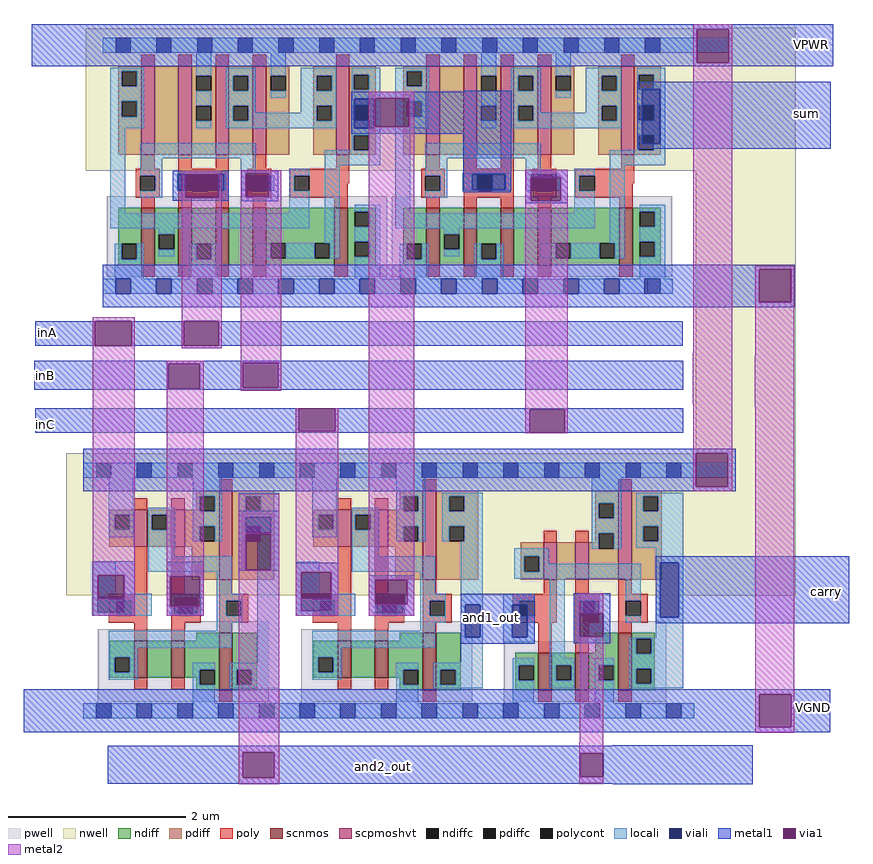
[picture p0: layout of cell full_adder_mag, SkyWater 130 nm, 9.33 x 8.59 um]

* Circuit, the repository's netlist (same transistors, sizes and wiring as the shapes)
* NGSPICE file created from full_adder_mag.ext - technology: sky130A

.subckt sky130_fd_sc_hd__and2_1 A B VGND VNB VPB VPWR X
X0 VPWR B a_59_75# VPB sky130_fd_pr__pfet_01v8_hvt ad=0.16655 pd=1.39 as=0.0567 ps=0.69 w=0.42 l=0.15
X1 X a_59_75# VPWR VPB sky130_fd_pr__pfet_01v8_hvt ad=0.475 pd=2.95 as=0.16655 ps=1.39 w=1 l=0.15
X2 VGND B a_145_75# VNB sky130_fd_pr__nfet_01v8 ad=0.1118 pd=1.04 as=0.0567 ps=0.69 w=0.42 l=0.15
X3 a_59_75# A VPWR VPB sky130_fd_pr__pfet_01v8_hvt ad=0.0567 pd=0.69 as=0.1176 ps=1.4 w=0.42 l=0.15
X4 X a_59_75# VGND VNB sky130_fd_pr__nfet_01v8 ad=0.182 pd=1.86 as=0.1118 ps=1.04 w=0.65 l=0.15
X5 a_145_75# A a_59_75# VNB sky130_fd_pr__nfet_01v8 ad=0.0567 pd=0.69 as=0.1176 ps=1.4 w=0.42 l=0.15
.ends

.subckt sky130_fd_sc_hd__or2_1 A B VGND VNB VPB VPWR X
X0 VGND A a_68_297# VNB sky130_fd_pr__nfet_01v8 ad=0.10025 pd=0.985 as=0.0567 ps=0.69 w=0.42 l=0.15
X1 a_68_297# B VGND VNB sky130_fd_pr__nfet_01v8 ad=0.0567 pd=0.69 as=0.1092 ps=1.36 w=0.42 l=0.15
X2 X a_68_297# VGND VNB sky130_fd_pr__nfet_01v8 ad=0.169 pd=1.82 as=0.10025 ps=0.985 w=0.65 l=0.15
X3 VPWR A a_150_297# VPB sky130_fd_pr__pfet_01v8_hvt ad=0.14575 pd=1.335 as=0.0441 ps=0.63 w=0.42 l=0.15
X4 X a_68_297# VPWR VPB sky130_fd_pr__pfet_01v8_hvt ad=0.34 pd=2.68 as=0.14575 ps=1.335 w=1 l=0.15
X5 a_150_297# B a_68_297# VPB sky130_fd_pr__pfet_01v8_hvt ad=0.0441 pd=0.63 as=0.1092 ps=1.36 w=0.42 l=0.15
.ends

.subckt sky130_fd_sc_hd__xor2_1 A B VGND VNB VPB VPWR X
X0 X a_35_297# a_285_297# VPB sky130_fd_pr__pfet_01v8_hvt ad=0.3 pd=2.6 as=0.26 ps=2.52 w=1 l=0.15
X1 X B a_285_47# VNB sky130_fd_pr__nfet_01v8 ad=0.25025 pd=1.42 as=0.08775 ps=0.92 w=0.65 l=0.15
X2 a_35_297# B VGND VNB sky130_fd_pr__nfet_01v8 ad=0.08775 pd=0.92 as=0.169 ps=1.82 w=0.65 l=0.15
X3 a_117_297# B a_35_297# VPB sky130_fd_pr__pfet_01v8_hvt ad=0.135 pd=1.27 as=0.26 ps=2.52 w=1 l=0.15
X4 VPWR B a_285_297# VPB sky130_fd_pr__pfet_01v8_hvt ad=0.26 pd=2.52 as=0.135 ps=1.27 w=1 l=0.15
X5 VGND A a_35_297# VNB sky130_fd_pr__nfet_01v8 ad=0.08775 pd=0.92 as=0.08775 ps=0.92 w=0.65 l=0.15
X6 VGND a_35_297# X VNB sky130_fd_pr__nfet_01v8 ad=0.208 pd=1.94 as=0.25025 ps=1.42 w=0.65 l=0.15
X7 a_285_297# A VPWR VPB sky130_fd_pr__pfet_01v8_hvt ad=0.135 pd=1.27 as=0.135 ps=1.27 w=1 l=0.15
X8 VPWR A a_117_297# VPB sky130_fd_pr__pfet_01v8_hvt ad=0.135 pd=1.27 as=0.135 ps=1.27 w=1 l=0.15
X9 a_285_47# A VGND VNB sky130_fd_pr__nfet_01v8 ad=0.08775 pd=0.92 as=0.08775 ps=0.92 w=0.65 l=0.15
.ends

.subckt full_adder_mag inA inB inC sum carry VPWR VGND
Xsky130_fd_sc_hd__and2_1_0 inA inB VGND SUB sky130_fd_sc_hd__or2_1_0/VPB VPWR and2_out
+ sky130_fd_sc_hd__and2_1
Xsky130_fd_sc_hd__and2_1_1 inC sky130_fd_sc_hd__xor2_1_1/A VGND SUB sky130_fd_sc_hd__or2_1_0/VPB
+ VPWR and1_out sky130_fd_sc_hd__and2_1
Xsky130_fd_sc_hd__or2_1_0 and2_out and1_out VGND SUB sky130_fd_sc_hd__or2_1_0/VPB
+ VPWR carry sky130_fd_sc_hd__or2_1
Xsky130_fd_sc_hd__xor2_1_0 inA inB VGND SUB sky130_fd_sc_hd__or2_1_0/VPB VPWR sky130_fd_sc_hd__xor2_1_1/A
+ sky130_fd_sc_hd__xor2_1
Xsky130_fd_sc_hd__xor2_1_1 sky130_fd_sc_hd__xor2_1_1/A inC VGND SUB sky130_fd_sc_hd__or2_1_0/VPB
+ VPWR sum sky130_fd_sc_hd__xor2_1
.ends

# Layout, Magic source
magic
tech sky130A
magscale 1 2
<< nwell >>
rect 2338 582 2564 584
rect 2278 260 2564 582
rect 2338 -378 2564 260
rect 2322 -700 2564 -378
<< locali >>
rect 998 527 2420 561
rect 954 -433 2420 -399
<< viali >>
rect 1566 356 1610 423
rect 2217 322 2258 445
rect 1168 216 1271 253
rect 1323 215 1377 249
rect 1833 218 1907 253
rect 1966 218 2024 252
rect 1321 -557 1378 -522
rect 987 -737 1046 -702
rect 1159 -739 1212 -703
rect 1447 -734 1514 -695
rect 1617 -738 1676 -701
rect 1817 -794 1851 -720
rect 1923 -794 1957 -720
rect 2084 -757 2118 -712
rect 2258 -748 2299 -625
<< metal1 >>
rect 838 580 2648 592
rect 838 505 2340 580
rect 2412 505 2648 580
rect 838 496 2648 505
rect 2205 445 2643 461
rect 1812 439 1921 441
rect 1559 424 1921 439
rect 1559 423 1612 424
rect 1559 356 1566 423
rect 1610 360 1612 423
rect 1690 360 1921 424
rect 1610 356 1921 360
rect 1559 344 1921 356
rect 1156 253 1283 261
rect 1156 216 1168 253
rect 1271 216 1283 253
rect 1156 199 1184 216
rect 1260 199 1283 216
rect 1156 193 1283 199
rect 1311 255 1394 261
rect 1311 202 1321 255
rect 1373 249 1394 255
rect 1377 215 1394 249
rect 1373 202 1394 215
rect 1812 253 1921 344
rect 2205 322 2217 445
rect 2258 322 2643 445
rect 2205 310 2643 322
rect 1812 218 1833 253
rect 1907 218 1921 253
rect 1812 215 1921 218
rect 1953 252 2049 263
rect 1953 246 1966 252
rect 2024 246 2049 252
rect 1812 212 1920 215
rect 1311 192 1394 202
rect 1953 193 1965 246
rect 2033 193 2049 246
rect 1953 187 2049 193
rect 2228 38 2561 48
rect 2228 -37 2481 38
rect 2553 -37 2561 38
rect 2228 -48 2561 -37
rect 845 -80 1181 -79
rect 845 -135 980 -80
rect 1064 -135 1181 -80
rect 1260 -135 2308 -79
rect 843 -173 2309 -169
rect 843 -176 1314 -173
rect 843 -232 1146 -176
rect 1217 -230 1314 -176
rect 1395 -230 2309 -173
rect 1217 -232 2309 -230
rect 843 -234 2309 -232
rect 845 -328 1441 -276
rect 1523 -278 2309 -276
rect 1523 -328 1963 -278
rect 845 -331 1963 -328
rect 2042 -331 2309 -278
rect 845 -332 2309 -331
rect 954 -378 2428 -368
rect 954 -453 2338 -378
rect 2410 -453 2428 -378
rect 954 -464 2428 -453
rect 1305 -522 1397 -508
rect 1305 -557 1321 -522
rect 1378 -557 1397 -522
rect 1305 -560 1397 -557
rect 975 -653 1070 -622
rect 975 -737 987 -653
rect 1046 -737 1070 -653
rect 975 -745 1070 -737
rect 1143 -656 1226 -623
rect 1305 -642 1321 -560
rect 1378 -642 1397 -560
rect 2247 -625 2685 -611
rect 1305 -643 1397 -642
rect 1143 -723 1151 -656
rect 1217 -723 1226 -656
rect 1143 -739 1159 -723
rect 1212 -739 1226 -723
rect 1143 -745 1226 -739
rect 1434 -647 1530 -625
rect 1434 -734 1447 -647
rect 1514 -734 1530 -647
rect 1434 -745 1530 -734
rect 1599 -664 1702 -653
rect 1599 -719 1614 -664
rect 1686 -719 1702 -664
rect 1599 -738 1617 -719
rect 1676 -738 1702 -719
rect 1599 -745 1702 -738
rect 1807 -720 1974 -695
rect 1807 -794 1817 -720
rect 1851 -794 1923 -720
rect 1957 -794 1974 -720
rect 1807 -808 1974 -794
rect 2062 -712 2145 -694
rect 2062 -739 2084 -712
rect 2118 -739 2145 -712
rect 2062 -792 2076 -739
rect 2129 -792 2145 -739
rect 2247 -748 2258 -625
rect 2299 -748 2685 -625
rect 2247 -762 2685 -748
rect 2062 -807 2145 -792
rect 819 -922 2641 -911
rect 819 -997 2481 -922
rect 2553 -997 2641 -922
rect 819 -1008 2641 -997
rect 2150 -1039 2467 -1038
rect 1009 -1053 2467 -1039
rect 1009 -1111 1314 -1053
rect 1385 -1055 2467 -1053
rect 1385 -1109 2077 -1055
rect 2129 -1109 2467 -1055
rect 1385 -1111 2467 -1109
rect 1009 -1124 2467 -1111
rect 2150 -1125 2467 -1124
<< via1 >>
rect 2340 505 2412 580
rect 1612 360 1690 424
rect 1184 216 1260 253
rect 1184 199 1260 216
rect 1321 249 1373 255
rect 1321 215 1323 249
rect 1323 215 1373 249
rect 1321 202 1373 215
rect 1965 218 1966 246
rect 1966 218 2024 246
rect 2024 218 2033 246
rect 1965 193 2033 218
rect 2481 -37 2553 38
rect 980 -135 1064 -80
rect 1181 -135 1260 -79
rect 1146 -232 1217 -176
rect 1314 -230 1395 -173
rect 1441 -328 1523 -276
rect 1963 -331 2042 -278
rect 2338 -453 2410 -378
rect 987 -702 1046 -653
rect 987 -706 1046 -702
rect 1321 -642 1378 -560
rect 1151 -703 1217 -656
rect 1151 -723 1159 -703
rect 1159 -723 1212 -703
rect 1212 -723 1217 -703
rect 1447 -695 1514 -647
rect 1447 -706 1514 -695
rect 1614 -701 1686 -664
rect 1614 -719 1617 -701
rect 1617 -719 1676 -701
rect 1676 -719 1686 -701
rect 2076 -757 2084 -739
rect 2084 -757 2118 -739
rect 2118 -757 2129 -739
rect 2076 -792 2129 -757
rect 2481 -997 2553 -922
rect 1314 -1111 1385 -1053
rect 2077 -1109 2129 -1055
<< metal2 >>
rect 2332 580 2420 591
rect 2332 505 2340 580
rect 2412 505 2420 580
rect 1599 424 1702 439
rect 1599 360 1612 424
rect 1690 360 1702 424
rect 1176 253 1267 261
rect 1176 199 1184 253
rect 1260 199 1267 253
rect 975 -80 1070 -71
rect 975 -135 980 -80
rect 1064 -135 1070 -80
rect 975 -653 1070 -135
rect 1176 -79 1267 199
rect 1176 -135 1181 -79
rect 1260 -135 1267 -79
rect 1176 -141 1267 -135
rect 1310 255 1401 262
rect 1310 202 1321 255
rect 1373 202 1401 255
rect 975 -706 987 -653
rect 1046 -706 1070 -653
rect 975 -745 1070 -706
rect 1143 -176 1226 -169
rect 1143 -232 1146 -176
rect 1217 -232 1226 -176
rect 1143 -656 1226 -232
rect 1310 -173 1401 202
rect 1310 -230 1314 -173
rect 1395 -230 1401 -173
rect 1310 -237 1401 -230
rect 1434 -328 1441 -276
rect 1523 -328 1530 -276
rect 1143 -723 1151 -656
rect 1217 -723 1226 -656
rect 1143 -745 1226 -723
rect 1305 -560 1397 -469
rect 1305 -642 1321 -560
rect 1378 -642 1397 -560
rect 1305 -1053 1397 -642
rect 1434 -647 1530 -328
rect 1434 -706 1447 -647
rect 1514 -706 1530 -647
rect 1434 -745 1530 -706
rect 1599 -664 1702 360
rect 1953 246 2049 263
rect 1953 193 1965 246
rect 2033 193 2049 246
rect 1953 -278 2049 193
rect 2332 -152 2420 505
rect 2331 -266 2420 -152
rect 2472 38 2560 46
rect 2472 -37 2481 38
rect 2553 -37 2560 38
rect 2472 -159 2560 -37
rect 1953 -331 1963 -278
rect 2042 -331 2049 -278
rect 1953 -333 2049 -331
rect 2332 -378 2420 -266
rect 2471 -273 2560 -159
rect 2332 -453 2338 -378
rect 2410 -453 2420 -378
rect 2332 -464 2420 -453
rect 1599 -719 1614 -664
rect 1686 -719 1702 -664
rect 1599 -745 1702 -719
rect 2076 -739 2129 -694
rect 2076 -1032 2129 -792
rect 2472 -922 2560 -273
rect 2472 -997 2481 -922
rect 2553 -997 2560 -922
rect 2472 -1009 2560 -997
rect 1305 -1111 1314 -1053
rect 1385 -1111 1397 -1053
rect 1305 -1125 1397 -1111
rect 2075 -1055 2129 -1032
rect 2075 -1109 2077 -1055
rect 2075 -1123 2129 -1109
use sky130_fd_sc_hd__and2_1  sky130_fd_sc_hd__and2_1_0
transform 1 0 954 0 1 -960
box -38 -48 498 592
use sky130_fd_sc_hd__and2_1  sky130_fd_sc_hd__and2_1_1
transform 1 0 1414 0 1 -960
box -38 -48 498 592
use sky130_fd_sc_hd__or2_1  sky130_fd_sc_hd__or2_1_0
transform 1 0 1874 0 1 -960
box -38 -48 498 592
use sky130_fd_sc_hd__xor2_1  sky130_fd_sc_hd__xor2_1_0
transform 1 0 998 0 1 0
box -38 -48 682 592
use sky130_fd_sc_hd__xor2_1  sky130_fd_sc_hd__xor2_1_1
transform 1 0 1642 0 1 0
box -38 -48 682 592
<< labels >>
rlabel metal1 873 -106 873 -106 1 inA
port 1 n
rlabel metal1 869 -203 869 -203 1 inB
port 2 n
rlabel metal1 868 -312 868 -312 1 inC
port 3 n
rlabel metal1 2589 390 2589 390 1 sum
port 4 n
rlabel metal1 2633 -690 2633 -690 1 carry
port 5 n
rlabel metal1 2600 546 2600 546 1 VPWR
port 6 n
rlabel metal1 2604 -952 2604 -952 1 VGND
port 7 n
rlabel metal1 1876 -749 1876 -749 1 and1_out
rlabel metal1 1632 -1085 1632 -1085 1 and2_out
<< end >>

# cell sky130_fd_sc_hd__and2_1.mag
magic
tech sky130A
magscale 1 2
<< nwell >>
rect -38 261 498 582
<< pwell >>
rect 229 185 419 203
rect 33 21 419 185
rect 33 17 63 21
rect 29 -17 63 17
<< scnmos >>
rect 115 75 145 159
rect 199 75 229 159
rect 307 47 337 177
<< scpmoshvt >>
rect 115 371 145 455
rect 199 371 229 455
rect 307 297 337 497
<< ndiff >>
rect 255 159 307 177
rect 59 121 115 159
rect 59 87 71 121
rect 105 87 115 121
rect 59 75 115 87
rect 145 75 199 159
rect 229 93 307 159
rect 229 75 263 93
rect 255 59 263 75
rect 297 59 307 93
rect 255 47 307 59
rect 337 93 393 177
rect 337 59 347 93
rect 381 59 393 93
rect 337 47 393 59
<< pdiff >>
rect 255 485 307 497
rect 255 455 263 485
rect 59 443 115 455
rect 59 409 71 443
rect 105 409 115 443
rect 59 371 115 409
rect 145 443 199 455
rect 145 409 155 443
rect 189 409 199 443
rect 145 371 199 409
rect 229 451 263 455
rect 297 451 307 485
rect 229 417 307 451
rect 229 383 263 417
rect 297 383 307 417
rect 229 371 307 383
rect 245 297 307 371
rect 337 485 432 497
rect 337 451 367 485
rect 401 451 432 485
rect 337 417 432 451
rect 337 383 367 417
rect 401 383 432 417
rect 337 297 432 383
<< ndiffc >>
rect 71 87 105 121
rect 263 59 297 93
rect 347 59 381 93
<< pdiffc >>
rect 71 409 105 443
rect 155 409 189 443
rect 263 451 297 485
rect 263 383 297 417
rect 367 451 401 485
rect 367 383 401 417
<< poly >>
rect 307 497 337 523
rect 115 455 145 481
rect 199 455 229 481
rect 115 265 145 371
rect 58 249 145 265
rect 58 215 74 249
rect 108 215 145 249
rect 58 199 145 215
rect 115 159 145 199
rect 199 265 229 371
rect 307 265 337 297
rect 199 249 265 265
rect 199 215 215 249
rect 249 215 265 249
rect 199 199 265 215
rect 307 249 373 265
rect 307 215 323 249
rect 357 215 373 249
rect 307 199 373 215
rect 199 159 229 199
rect 307 177 337 199
rect 115 49 145 75
rect 199 49 229 75
rect 307 21 337 47
<< polycont >>
rect 74 215 108 249
rect 215 215 249 249
rect 323 215 357 249
<< locali >>
rect 0 527 29 561
rect 63 527 121 561
rect 155 527 213 561
rect 247 527 305 561
rect 339 527 397 561
rect 431 527 460 561
rect 57 443 113 527
rect 247 485 313 527
rect 57 409 71 443
rect 105 409 113 443
rect 57 393 113 409
rect 147 443 207 459
rect 147 409 155 443
rect 189 409 207 443
rect 147 349 207 409
rect 247 451 263 485
rect 297 451 313 485
rect 247 417 313 451
rect 247 383 263 417
rect 297 383 313 417
rect 351 485 443 493
rect 351 451 367 485
rect 401 451 443 485
rect 351 417 443 451
rect 351 383 367 417
rect 401 383 443 417
rect 20 265 73 337
rect 147 315 335 349
rect 301 265 335 315
rect 20 249 155 265
rect 20 215 74 249
rect 108 215 155 249
rect 199 249 267 265
rect 199 215 215 249
rect 249 215 267 249
rect 301 249 359 265
rect 301 215 323 249
rect 357 215 359 249
rect 301 199 359 215
rect 301 181 335 199
rect 57 143 335 181
rect 57 121 123 143
rect 57 87 71 121
rect 105 87 123 121
rect 393 109 443 383
rect 57 71 123 87
rect 247 93 297 109
rect 247 59 263 93
rect 247 17 297 59
rect 331 93 443 109
rect 331 59 347 93
rect 381 59 443 93
rect 331 51 443 59
rect 0 -17 29 17
rect 63 -17 121 17
rect 155 -17 213 17
rect 247 -17 305 17
rect 339 -17 397 17
rect 431 -17 460 17
<< viali >>
rect 29 527 63 561
rect 121 527 155 561
rect 213 527 247 561
rect 305 527 339 561
rect 397 527 431 561
rect 29 -17 63 17
rect 121 -17 155 17
rect 213 -17 247 17
rect 305 -17 339 17
rect 397 -17 431 17
<< metal1 >>
rect 0 561 460 592
rect 0 527 29 561
rect 63 527 121 561
rect 155 527 213 561
rect 247 527 305 561
rect 339 527 397 561
rect 431 527 460 561
rect 0 496 460 527
rect 0 17 460 48
rect 0 -17 29 17
rect 63 -17 121 17
rect 155 -17 213 17
rect 247 -17 305 17
rect 339 -17 397 17
rect 431 -17 460 17
rect 0 -48 460 -17
<< labels >>
flabel metal1 s 29 527 63 561 0 FreeSans 200 0 0 0 VPWR
port 6 nsew power bidirectional abutment
flabel metal1 s 29 -17 63 17 0 FreeSans 200 0 0 0 VGND
port 3 nsew ground bidirectional abutment
flabel locali s 397 153 431 187 0 FreeSans 250 0 0 0 X
port 7 nsew signal output
flabel locali s 397 85 431 119 0 FreeSans 250 0 0 0 X
port 7 nsew signal output
flabel locali s 397 221 431 255 0 FreeSans 250 0 0 0 X
port 7 nsew signal output
flabel locali s 397 289 431 323 0 FreeSans 250 0 0 0 X
port 7 nsew signal output
flabel locali s 397 357 431 391 0 FreeSans 250 0 0 0 X
port 7 nsew signal output
flabel locali s 397 425 431 459 0 FreeSans 250 0 0 0 X
port 7 nsew signal output
flabel locali s 213 221 247 255 0 FreeSans 250 0 0 0 B
port 2 nsew signal input
flabel locali s 121 221 155 255 0 FreeSans 250 0 0 0 A
port 1 nsew signal input
flabel locali s 29 221 63 255 0 FreeSans 250 0 0 0 A
port 1 nsew signal input
flabel nwell s 29 527 63 561 0 FreeSans 200 0 0 0 VPB
port 5 nsew power bidirectional
flabel pwell s 29 -17 63 17 0 FreeSans 200 0 0 0 VNB
port 4 nsew ground bidirectional
rlabel comment s 0 0 0 0 4 and2_1
rlabel metal1 s 0 -48 460 48 1 VGND
port 3 nsew ground bidirectional abutment
rlabel metal1 s 0 496 460 592 1 VPWR
port 6 nsew power bidirectional abutment
<< properties >>
string FIXED_BBOX 0 0 460 544
string GDS_END 3873666
string GDS_FILE $PDKPATH/libs.ref/sky130_fd_sc_hd/gds/sky130_fd_sc_hd.gds
string GDS_START 3868824
string LEFclass CORE
string LEFsite unithd
string LEFsymmetry X Y R90
string path 0.000 13.600 11.500 13.600 
<< end >>

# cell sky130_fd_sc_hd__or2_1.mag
magic
tech sky130A
magscale 1 2
<< nwell >>
rect -38 261 498 582
<< pwell >>
rect 211 157 397 203
rect 30 21 397 157
rect 30 17 63 21
rect 29 -17 63 17
<< scnmos >>
rect 108 47 138 131
rect 192 47 222 131
rect 289 47 319 177
<< scpmoshvt >>
rect 120 297 150 381
rect 192 297 222 381
rect 289 297 319 497
<< ndiff >>
rect 237 131 289 177
rect 56 103 108 131
rect 56 69 64 103
rect 98 69 108 103
rect 56 47 108 69
rect 138 103 192 131
rect 138 69 148 103
rect 182 69 192 103
rect 138 47 192 69
rect 222 103 289 131
rect 222 69 244 103
rect 278 69 289 103
rect 222 47 289 69
rect 319 163 371 177
rect 319 129 329 163
rect 363 129 371 163
rect 319 95 371 129
rect 319 61 329 95
rect 363 61 371 95
rect 319 47 371 61
<< pdiff >>
rect 237 469 289 497
rect 237 435 245 469
rect 279 435 289 469
rect 237 401 289 435
rect 237 381 245 401
rect 68 349 120 381
rect 68 315 76 349
rect 110 315 120 349
rect 68 297 120 315
rect 150 297 192 381
rect 222 367 245 381
rect 279 367 289 401
rect 222 297 289 367
rect 319 485 387 497
rect 319 451 345 485
rect 379 451 387 485
rect 319 417 387 451
rect 319 383 345 417
rect 379 383 387 417
rect 319 297 387 383
<< ndiffc >>
rect 64 69 98 103
rect 148 69 182 103
rect 244 69 278 103
rect 329 129 363 163
rect 329 61 363 95
<< pdiffc >>
rect 245 435 279 469
rect 76 315 110 349
rect 245 367 279 401
rect 345 451 379 485
rect 345 383 379 417
<< poly >>
rect 289 497 319 523
rect 120 381 150 407
rect 192 381 222 407
rect 120 265 150 297
rect 50 249 150 265
rect 50 215 66 249
rect 100 215 150 249
rect 50 199 150 215
rect 192 265 222 297
rect 289 265 319 297
rect 192 249 246 265
rect 192 215 202 249
rect 236 215 246 249
rect 192 199 246 215
rect 289 249 355 265
rect 289 215 305 249
rect 339 215 355 249
rect 289 199 355 215
rect 108 131 138 199
rect 192 131 222 199
rect 289 177 319 199
rect 108 21 138 47
rect 192 21 222 47
rect 289 21 319 47
<< polycont >>
rect 66 215 100 249
rect 202 215 236 249
rect 305 215 339 249
<< locali >>
rect 0 527 29 561
rect 63 527 121 561
rect 155 527 213 561
rect 247 527 305 561
rect 339 527 397 561
rect 431 527 460 561
rect 229 469 295 527
rect 229 435 245 469
rect 279 435 295 469
rect 229 401 295 435
rect 54 349 132 368
rect 229 367 245 401
rect 279 367 295 401
rect 329 485 436 493
rect 329 451 345 485
rect 379 451 436 485
rect 329 417 436 451
rect 329 383 345 417
rect 379 383 436 417
rect 329 369 436 383
rect 54 315 76 349
rect 110 333 132 349
rect 110 315 339 333
rect 54 299 339 315
rect 29 249 100 265
rect 29 215 66 249
rect 29 153 100 215
rect 134 119 168 299
rect 202 249 255 265
rect 236 215 255 249
rect 202 153 255 215
rect 305 249 339 299
rect 305 199 339 215
rect 373 165 436 369
rect 313 163 436 165
rect 313 129 329 163
rect 363 129 436 163
rect 50 103 98 119
rect 50 69 64 103
rect 50 17 98 69
rect 134 103 190 119
rect 134 69 148 103
rect 182 69 190 103
rect 134 53 190 69
rect 236 103 279 119
rect 236 69 244 103
rect 278 69 279 103
rect 236 17 279 69
rect 313 95 436 129
rect 313 61 329 95
rect 363 61 436 95
rect 313 51 436 61
rect 0 -17 29 17
rect 63 -17 121 17
rect 155 -17 213 17
rect 247 -17 305 17
rect 339 -17 397 17
rect 431 -17 460 17
<< viali >>
rect 29 527 63 561
rect 121 527 155 561
rect 213 527 247 561
rect 305 527 339 561
rect 397 527 431 561
rect 29 -17 63 17
rect 121 -17 155 17
rect 213 -17 247 17
rect 305 -17 339 17
rect 397 -17 431 17
<< metal1 >>
rect 0 561 460 592
rect 0 527 29 561
rect 63 527 121 561
rect 155 527 213 561
rect 247 527 305 561
rect 339 527 397 561
rect 431 527 460 561
rect 0 496 460 527
rect 0 17 460 48
rect 0 -17 29 17
rect 63 -17 121 17
rect 155 -17 213 17
rect 247 -17 305 17
rect 339 -17 397 17
rect 431 -17 460 17
rect 0 -48 460 -17
<< labels >>
flabel locali s 213 221 247 255 0 FreeSans 200 0 0 0 A
port 1 nsew signal input
flabel locali s 397 357 431 391 0 FreeSans 200 0 0 0 X
port 7 nsew signal output
flabel locali s 29 221 63 255 0 FreeSans 200 0 0 0 B
port 2 nsew signal input
flabel nwell s 29 527 63 561 0 FreeSans 200 0 0 0 VPB
port 5 nsew power bidirectional
flabel pwell s 29 -17 63 17 0 FreeSans 200 0 0 0 VNB
port 4 nsew ground bidirectional
flabel metal1 s 29 -17 63 17 0 FreeSans 200 0 0 0 VGND
port 3 nsew ground bidirectional abutment
flabel metal1 s 29 527 63 561 0 FreeSans 200 0 0 0 VPWR
port 6 nsew power bidirectional abutment
rlabel comment s 0 0 0 0 4 or2_1
rlabel metal1 s 0 -48 460 48 1 VGND
port 3 nsew ground bidirectional abutment
rlabel metal1 s 0 496 460 592 1 VPWR
port 6 nsew power bidirectional abutment
<< properties >>
string FIXED_BBOX 0 0 460 544
string GDS_END 993392
string GDS_FILE $PDKPATH/libs.ref/sky130_fd_sc_hd/gds/sky130_fd_sc_hd.gds
string GDS_START 989226
string LEFclass CORE
string LEFsite unithd
string LEFsymmetry X Y R90
string path 0.000 0.000 2.300 0.000 
<< end >>

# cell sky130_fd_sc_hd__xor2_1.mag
magic
tech sky130A
magscale 1 2
<< nwell >>
rect -38 261 682 582
<< pwell >>
rect 9 21 643 203
rect 29 -17 63 21
<< scnmos >>
rect 87 47 117 177
rect 171 47 201 177
rect 255 47 285 177
rect 339 47 369 177
rect 523 47 553 177
<< scpmoshvt >>
rect 87 297 117 497
rect 171 297 201 497
rect 255 297 285 497
rect 339 297 369 497
rect 527 297 557 497
<< ndiff >>
rect 35 95 87 177
rect 35 61 43 95
rect 77 61 87 95
rect 35 47 87 61
rect 117 117 171 177
rect 117 83 127 117
rect 161 83 171 117
rect 117 47 171 83
rect 201 95 255 177
rect 201 61 211 95
rect 245 61 255 95
rect 201 47 255 61
rect 285 47 339 177
rect 369 97 523 177
rect 369 63 379 97
rect 413 63 479 97
rect 513 63 523 97
rect 369 47 523 63
rect 553 168 617 177
rect 553 134 569 168
rect 603 134 617 168
rect 553 100 617 134
rect 553 66 569 100
rect 603 66 617 100
rect 553 47 617 66
<< pdiff >>
rect 35 485 87 497
rect 35 451 43 485
rect 77 451 87 485
rect 35 417 87 451
rect 35 383 43 417
rect 77 383 87 417
rect 35 297 87 383
rect 117 297 171 497
rect 201 475 255 497
rect 201 441 211 475
rect 245 441 255 475
rect 201 407 255 441
rect 201 373 211 407
rect 245 373 255 407
rect 201 297 255 373
rect 285 475 339 497
rect 285 441 295 475
rect 329 441 339 475
rect 285 407 339 441
rect 285 373 295 407
rect 329 373 339 407
rect 285 297 339 373
rect 369 475 421 497
rect 369 441 379 475
rect 413 441 421 475
rect 369 297 421 441
rect 475 475 527 497
rect 475 441 483 475
rect 517 441 527 475
rect 475 407 527 441
rect 475 373 483 407
rect 517 373 527 407
rect 475 297 527 373
rect 557 477 617 497
rect 557 443 567 477
rect 601 443 617 477
rect 557 409 617 443
rect 557 375 567 409
rect 601 375 617 409
rect 557 341 617 375
rect 557 307 567 341
rect 601 307 617 341
rect 557 297 617 307
<< ndiffc >>
rect 43 61 77 95
rect 127 83 161 117
rect 211 61 245 95
rect 379 63 413 97
rect 479 63 513 97
rect 569 134 603 168
rect 569 66 603 100
<< pdiffc >>
rect 43 451 77 485
rect 43 383 77 417
rect 211 441 245 475
rect 211 373 245 407
rect 295 441 329 475
rect 295 373 329 407
rect 379 441 413 475
rect 483 441 517 475
rect 483 373 517 407
rect 567 443 601 477
rect 567 375 601 409
rect 567 307 601 341
<< poly >>
rect 87 497 117 523
rect 171 497 201 523
rect 255 497 285 523
rect 339 497 369 523
rect 527 497 557 523
rect 87 265 117 297
rect 171 265 201 297
rect 255 265 285 297
rect 339 265 369 297
rect 527 265 557 297
rect 75 249 129 265
rect 75 215 85 249
rect 119 215 129 249
rect 75 199 129 215
rect 171 249 285 265
rect 171 215 202 249
rect 236 215 285 249
rect 171 199 285 215
rect 327 249 381 265
rect 327 215 337 249
rect 371 215 381 249
rect 327 199 381 215
rect 423 249 557 265
rect 423 215 433 249
rect 467 232 557 249
rect 467 215 553 232
rect 423 199 553 215
rect 87 177 117 199
rect 171 177 201 199
rect 255 177 285 199
rect 339 177 369 199
rect 523 177 553 199
rect 87 21 117 47
rect 171 21 201 47
rect 255 21 285 47
rect 339 21 369 47
rect 523 21 553 47
<< polycont >>
rect 85 215 119 249
rect 202 215 236 249
rect 337 215 371 249
rect 433 215 467 249
<< locali >>
rect 0 527 29 561
rect 63 527 121 561
rect 155 527 213 561
rect 247 527 305 561
rect 339 527 397 561
rect 431 527 489 561
rect 523 527 581 561
rect 615 527 644 561
rect 17 485 93 493
rect 17 451 43 485
rect 77 451 93 485
rect 17 417 93 451
rect 17 383 43 417
rect 77 383 93 417
rect 17 357 93 383
rect 211 475 245 527
rect 211 407 245 441
rect 211 357 245 373
rect 279 475 345 493
rect 279 441 295 475
rect 329 441 345 475
rect 279 407 345 441
rect 379 475 413 527
rect 379 425 413 441
rect 447 475 527 493
rect 447 441 483 475
rect 517 441 527 475
rect 279 373 295 407
rect 329 391 345 407
rect 447 407 527 441
rect 447 391 483 407
rect 329 373 483 391
rect 517 373 527 407
rect 279 357 527 373
rect 563 477 627 493
rect 563 443 567 477
rect 601 443 627 477
rect 563 409 627 443
rect 563 375 567 409
rect 601 375 627 409
rect 17 165 51 357
rect 563 341 627 375
rect 85 289 346 323
rect 563 307 567 341
rect 601 307 627 341
rect 85 249 134 289
rect 119 215 134 249
rect 168 249 278 255
rect 168 215 202 249
rect 236 215 278 249
rect 312 249 346 289
rect 501 273 627 307
rect 421 249 467 265
rect 312 215 337 249
rect 371 215 387 249
rect 421 215 433 249
rect 85 199 134 215
rect 421 165 467 215
rect 17 131 467 165
rect 127 117 161 131
rect 27 61 43 95
rect 77 61 93 95
rect 501 97 535 273
rect 127 67 161 83
rect 27 17 93 61
rect 195 61 211 95
rect 245 61 261 95
rect 344 63 379 97
rect 413 63 479 97
rect 513 63 535 97
rect 569 168 627 184
rect 603 134 627 168
rect 569 100 627 134
rect 603 66 627 100
rect 195 17 261 61
rect 569 17 627 66
rect 0 -17 29 17
rect 63 -17 121 17
rect 155 -17 213 17
rect 247 -17 305 17
rect 339 -17 397 17
rect 431 -17 489 17
rect 523 -17 581 17
rect 615 -17 644 17
<< viali >>
rect 29 527 63 561
rect 121 527 155 561
rect 213 527 247 561
rect 305 527 339 561
rect 397 527 431 561
rect 489 527 523 561
rect 581 527 615 561
rect 29 -17 63 17
rect 121 -17 155 17
rect 213 -17 247 17
rect 305 -17 339 17
rect 397 -17 431 17
rect 489 -17 523 17
rect 581 -17 615 17
<< metal1 >>
rect 0 561 644 592
rect 0 527 29 561
rect 63 527 121 561
rect 155 527 213 561
rect 247 527 305 561
rect 339 527 397 561
rect 431 527 489 561
rect 523 527 581 561
rect 615 527 644 561
rect 0 496 644 527
rect 0 17 644 48
rect 0 -17 29 17
rect 63 -17 121 17
rect 155 -17 213 17
rect 247 -17 305 17
rect 339 -17 397 17
rect 431 -17 489 17
rect 523 -17 581 17
rect 615 -17 644 17
rect 0 -48 644 -17
<< labels >>
flabel locali s 121 289 155 323 0 FreeSans 200 0 0 0 B
port 2 nsew signal input
flabel locali s 581 289 615 323 0 FreeSans 200 0 0 0 X
port 7 nsew signal output
flabel locali s 213 221 247 255 0 FreeSans 200 0 0 0 A
port 1 nsew signal input
flabel pwell s 29 -17 63 17 0 FreeSans 200 0 0 0 VNB
port 4 nsew ground bidirectional
flabel nwell s 29 527 63 561 0 FreeSans 200 0 0 0 VPB
port 5 nsew power bidirectional
flabel metal1 s 29 527 63 561 0 FreeSans 200 0 0 0 VPWR
port 6 nsew power bidirectional abutment
flabel metal1 s 29 -17 63 17 0 FreeSans 200 0 0 0 VGND
port 3 nsew ground bidirectional abutment
rlabel comment s 0 0 0 0 4 xor2_1
rlabel metal1 s 0 -48 644 48 1 VGND
port 3 nsew ground bidirectional abutment
rlabel metal1 s 0 496 644 592 1 VPWR
port 6 nsew power bidirectional abutment
<< properties >>
string FIXED_BBOX 0 0 644 544
string GDS_END 637768
string GDS_FILE $PDKPATH/libs.ref/sky130_fd_sc_hd/gds/sky130_fd_sc_hd.gds
string GDS_START 632386
string LEFclass CORE
string LEFsite unithd
string LEFsymmetry X Y R90
string path 0.000 2.720 3.220 2.720 
<< end >>
